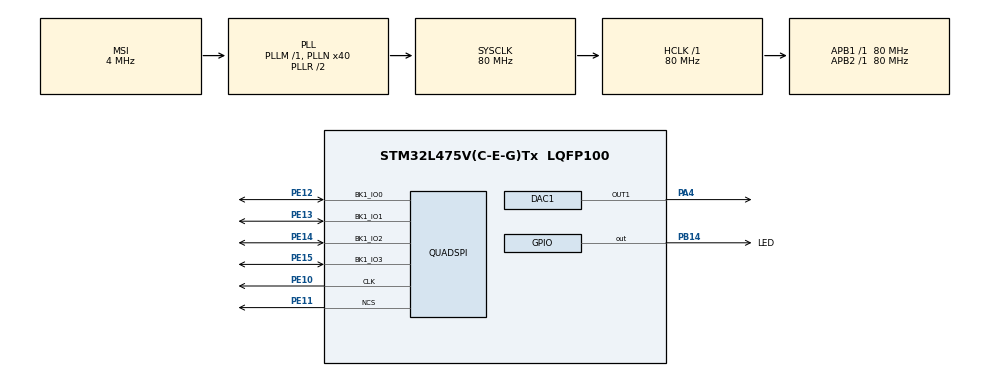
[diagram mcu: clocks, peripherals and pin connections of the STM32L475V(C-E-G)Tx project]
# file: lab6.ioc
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DAC1.DAC_Trigger-DAC_OUT1=DAC_TRIGGER_T2_TRGO
Dma.DAC_CH1.0.Direction=DMA_MEMORY_TO_PERIPH
Dma.DAC_CH1.0.Instance=DMA1_Channel3
Dma.DAC_CH1.0.MemDataAlignment=DMA_MDATAALIGN_BYTE
Dma.DAC_CH1.0.MemInc=DMA_MINC_ENABLE
Dma.DAC_CH1.0.Mode=DMA_NORMAL
Dma.DAC_CH1.0.PeriphDataAlignment=DMA_PDATAALIGN_BYTE
Dma.DAC_CH1.0.PeriphInc=DMA_PINC_DISABLE
Dma.DAC_CH1.0.Priority=DMA_PRIORITY_LOW
Dma.Request0=DAC_CH1
Mcu.Family=STM32L4
Mcu.Name=STM32L475V(C-E-G)Tx
Mcu.Package=LQFP100
NVIC.DMA1_Channel3_IRQn=true\:0\:0\:false\:false\:true\:false\:true
NVIC.PriorityGroup=NVIC_PRIORITYGROUP_4
NVIC.TIM2_IRQn=true\:0\:0\:false\:false\:true\:true\:true
PA4.Signal=COMP_DAC11_group
PB14.GPIO_Label=LED
PB14.Signal=GPIO_Output
PE10.Mode=Single Bank
PE10.Signal=QUADSPI_CLK
PE11.Mode=Single Bank
PE11.Signal=QUADSPI_NCS
PE12.Mode=Single Bank
PE12.Signal=QUADSPI_BK1_IO0
PE13.Mode=Single Bank
PE13.Signal=QUADSPI_BK1_IO1
PE14.Mode=Single Bank
PE14.Signal=QUADSPI_BK1_IO2
PE15.Mode=Single Bank
PE15.Signal=QUADSPI_BK1_IO3
ProjectManager.HeapSize=0x200
ProjectManager.StackSize=0x400
ProjectManager.TargetToolchain=STM32CubeIDE
RCC.ADCFreq_Value=48000000
RCC.AHBFreq_Value=80000000
RCC.APB1Freq_Value=80000000
RCC.APB1TimFreq_Value=80000000
RCC.APB2Freq_Value=80000000
RCC.APB2TimFreq_Value=80000000
RCC.CortexFreq_Value=80000000
RCC.HCLKFreq_Value=80000000
RCC.HSE_VALUE=8000000
RCC.HSI_VALUE=16000000
RCC.LSE_VALUE=32768
RCC.MSI_VALUE=4000000
RCC.PLLN=40
RCC.PLLSAI1N=24
RCC.SYSCLKFreq_VALUE=80000000
RCC.SYSCLKSource=RCC_SYSCLKSOURCE_PLLCLK
RCC.USBFreq_Value=48000000
RCC.VCOOutputFreq_Value=160000000
SH.COMP_DAC11_group.0=DAC1_OUT1,DAC_OUT1
TIM2.Period=1814
TIM2.TIM_MasterOutputTrigger=TIM_TRGO_UPDATE
VP_TIM2_VS_ClockSourceINT.Mode=Internal
board=B-L475E-IOT01A1

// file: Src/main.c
/* USER CODE BEGIN Header */
/**
  ******************************************************************************
  * @file           : main.c
  * @brief          : Main program body
  ******************************************************************************
  * @attention
  *
  * <h2><center>&copy; Copyright (c) 2020 STMicroelectronics.
  * All rights reserved.</center></h2>
  *
  * This software component is licensed by ST under BSD 3-Clause license,
  * the "License"; You may not use this file except in compliance with the
  * License. You may obtain a copy of the License at:
  *                        opensource.org/licenses/BSD-3-Clause
  *
  ******************************************************************************
  */
/* USER CODE END Header */
#include "main.h"

/* USER CODE BEGIN Includes */
#define ARM_MATH_CM4
#include "arm_math.h"

#include <math.h>
#include "stm32l475e_iot01_qspi.h"
/* USER CODE END Includes */

/* USER CODE BEGIN PD */
#define QSPI_BUFFER_SIZE	10000
#define WRITE_READ_ADDR		80
/* USER CODE END PD */

DAC_HandleTypeDef hdac1;
DMA_HandleTypeDef hdma_dac_ch1;

QSPI_HandleTypeDef hqspi;

TIM_HandleTypeDef htim2;

/* USER CODE BEGIN PV */
uint8_t audioWrite[QSPI_BUFFER_SIZE];
uint8_t audioRead[QSPI_BUFFER_SIZE];
int audio_number = 1;
/* USER CODE END PV */

void SystemClock_Config(void);
static void MX_GPIO_Init(void);
static void MX_DMA_Init(void);
static void MX_DAC1_Init(void);
static void MX_TIM2_Init(void);
static void MX_QUADSPI_Init(void);
/* USER CODE BEGIN PFP */
void HAL_DAC_ConvCpltCallbackCh1 (DAC_HandleTypeDef * hdac);
/* USER CODE END PFP */

int main(void)
{

  /* MCU Configuration--------------------------------------------------------*/

  /* Reset of all peripherals, Initializes the Flash interface and the Systick. */
  HAL_Init();

  /* Configure the system clock */
  SystemClock_Config();

  /* Initialize all configured peripherals */
  MX_GPIO_Init();
  MX_DMA_Init();
  MX_DAC1_Init();
  MX_TIM2_Init();
  MX_QUADSPI_Init();
  /* USER CODE BEGIN 2 */
  BSP_QSPI_Init();
  // Erase the memory block
  if (BSP_QSPI_Erase_Block(WRITE_READ_ADDR) != QSPI_OK) {
	  Error_Handler();
  }
  // create the sine waves one by one and save them
  for (int i = 0; i < 6; i++) {
	  float radian = 0;
	  for (int j = 0; j < QSPI_BUFFER_SIZE; j++) {
		  audioWrite[j] = (100 * arm_sin_f32(radian)) + 100;
		  radian += M_PI_4 / ((i+1)*2);
	  }
	  if (BSP_QSPI_Write(audioWrite, WRITE_READ_ADDR + (i * QSPI_BUFFER_SIZE), QSPI_BUFFER_SIZE) != QSPI_OK) {
		  Error_Handler();
	  }
  }
  // read the first audio from the memory
  if (BSP_QSPI_Read(audioRead, WRITE_READ_ADDR, QSPI_BUFFER_SIZE) != QSPI_OK) {
	  Error_Handler();
  }
  // load and play the first memory
  HAL_TIM_Base_Start(&htim2);
  HAL_DAC_Start_DMA(&hdac1, DAC_CHANNEL_1,(uint32_t*) audioRead, QSPI_BUFFER_SIZE, DAC_ALIGN_8B_R);
  /* USER CODE END 2 */

  /* Infinite loop */
  while (1)
  {

  }
}

void SystemClock_Config(void)
{
  RCC_OscInitTypeDef RCC_OscInitStruct = {0};
  RCC_ClkInitTypeDef RCC_ClkInitStruct = {0};

  /** Initializes the RCC Oscillators according to the specified parameters
  * in the RCC_OscInitTypeDef structure.
  */
  RCC_OscInitStruct.OscillatorType = RCC_OSCILLATORTYPE_MSI;
  RCC_OscInitStruct.MSIState = RCC_MSI_ON;
  RCC_OscInitStruct.MSICalibrationValue = 0;
  RCC_OscInitStruct.MSIClockRange = RCC_MSIRANGE_6;
  RCC_OscInitStruct.PLL.PLLState = RCC_PLL_ON;
  RCC_OscInitStruct.PLL.PLLSource = RCC_PLLSOURCE_MSI;
  RCC_OscInitStruct.PLL.PLLM = 1;
  RCC_OscInitStruct.PLL.PLLN = 40;
  RCC_OscInitStruct.PLL.PLLP = RCC_PLLP_DIV7;
  RCC_OscInitStruct.PLL.PLLQ = RCC_PLLQ_DIV2;
  RCC_OscInitStruct.PLL.PLLR = RCC_PLLR_DIV2;
  if (HAL_RCC_OscConfig(&RCC_OscInitStruct) != HAL_OK)
  {
    Error_Handler();
  }
  /** Initializes the CPU, AHB and APB buses clocks
  */
  RCC_ClkInitStruct.ClockType = RCC_CLOCKTYPE_HCLK|RCC_CLOCKTYPE_SYSCLK
                              |RCC_CLOCKTYPE_PCLK1|RCC_CLOCKTYPE_PCLK2;
  RCC_ClkInitStruct.SYSCLKSource = RCC_SYSCLKSOURCE_PLLCLK;
  RCC_ClkInitStruct.AHBCLKDivider = RCC_SYSCLK_DIV1;
  RCC_ClkInitStruct.APB1CLKDivider = RCC_HCLK_DIV1;
  RCC_ClkInitStruct.APB2CLKDivider = RCC_HCLK_DIV1;

  if (HAL_RCC_ClockConfig(&RCC_ClkInitStruct, FLASH_LATENCY_4) != HAL_OK)
  {
    Error_Handler();
  }
  /** Configure the main internal regulator output voltage
  */
  if (HAL_PWREx_ControlVoltageScaling(PWR_REGULATOR_VOLTAGE_SCALE1) != HAL_OK)
  {
    Error_Handler();
  }
}

static void MX_DAC1_Init(void)
{

  DAC_ChannelConfTypeDef sConfig = {0};

  /** DAC Initialization
  */
  hdac1.Instance = DAC1;
  if (HAL_DAC_Init(&hdac1) != HAL_OK)
  {
    Error_Handler();
  }
  /** DAC channel OUT1 config
  */
  sConfig.DAC_SampleAndHold = DAC_SAMPLEANDHOLD_DISABLE;
  sConfig.DAC_Trigger = DAC_TRIGGER_T2_TRGO;
  sConfig.DAC_OutputBuffer = DAC_OUTPUTBUFFER_ENABLE;
  sConfig.DAC_ConnectOnChipPeripheral = DAC_CHIPCONNECT_DISABLE;
  sConfig.DAC_UserTrimming = DAC_TRIMMING_FACTORY;
  if (HAL_DAC_ConfigChannel(&hdac1, &sConfig, DAC_CHANNEL_1) != HAL_OK)
  {
    Error_Handler();
  }

}

static void MX_QUADSPI_Init(void)
{

  /* QUADSPI parameter configuration*/
  hqspi.Instance = QUADSPI;
  hqspi.Init.ClockPrescaler = 255;
  hqspi.Init.FifoThreshold = 1;
  hqspi.Init.SampleShifting = QSPI_SAMPLE_SHIFTING_NONE;
  hqspi.Init.FlashSize = 1;
  hqspi.Init.ChipSelectHighTime = QSPI_CS_HIGH_TIME_1_CYCLE;
  hqspi.Init.ClockMode = QSPI_CLOCK_MODE_0;
  if (HAL_QSPI_Init(&hqspi) != HAL_OK)
  {
    Error_Handler();
  }

}

static void MX_TIM2_Init(void)
{

  TIM_ClockConfigTypeDef sClockSourceConfig = {0};
  TIM_MasterConfigTypeDef sMasterConfig = {0};

  htim2.Instance = TIM2;
  htim2.Init.Prescaler = 0;
  htim2.Init.CounterMode = TIM_COUNTERMODE_UP;
  htim2.Init.Period = 1814;
  htim2.Init.ClockDivision = TIM_CLOCKDIVISION_DIV1;
  htim2.Init.AutoReloadPreload = TIM_AUTORELOAD_PRELOAD_DISABLE;
  if (HAL_TIM_Base_Init(&htim2) != HAL_OK)
  {
    Error_Handler();
  }
  sClockSourceConfig.ClockSource = TIM_CLOCKSOURCE_INTERNAL;
  if (HAL_TIM_ConfigClockSource(&htim2, &sClockSourceConfig) != HAL_OK)
  {
    Error_Handler();
  }
  sMasterConfig.MasterOutputTrigger = TIM_TRGO_UPDATE;
  sMasterConfig.MasterSlaveMode = TIM_MASTERSLAVEMODE_DISABLE;
  if (HAL_TIMEx_MasterConfigSynchronization(&htim2, &sMasterConfig) != HAL_OK)
  {
    Error_Handler();
  }

}

static void MX_DMA_Init(void)
{

  /* DMA controller clock enable */
  __HAL_RCC_DMA1_CLK_ENABLE();

  /* DMA interrupt init */
  /* DMA1_Channel3_IRQn interrupt configuration */
  HAL_NVIC_SetPriority(DMA1_Channel3_IRQn, 0, 0);
  HAL_NVIC_EnableIRQ(DMA1_Channel3_IRQn);

}

static void MX_GPIO_Init(void)
{
  GPIO_InitTypeDef GPIO_InitStruct = {0};

  /* GPIO Ports Clock Enable */
  __HAL_RCC_GPIOA_CLK_ENABLE();
  __HAL_RCC_GPIOE_CLK_ENABLE();
  __HAL_RCC_GPIOB_CLK_ENABLE();

  /*Configure GPIO pin Output Level */
  HAL_GPIO_WritePin(LED_GPIO_Port, LED_Pin, GPIO_PIN_RESET);

  /*Configure GPIO pin : LED_Pin */
  GPIO_InitStruct.Pin = LED_Pin;
  GPIO_InitStruct.Mode = GPIO_MODE_OUTPUT_PP;
  GPIO_InitStruct.Pull = GPIO_NOPULL;
  GPIO_InitStruct.Speed = GPIO_SPEED_FREQ_LOW;
  HAL_GPIO_Init(LED_GPIO_Port, &GPIO_InitStruct);

}

/* USER CODE BEGIN 4 */
void HAL_DAC_ConvCpltCallbackCh1(DAC_HandleTypeDef * hdac) {
  HAL_DAC_Stop_DMA(&hdac1, DAC_CHANNEL_1);
  audio_number += 1;
  if (audio_number > 6) {
	  audio_number = 1;
  }
  if(BSP_QSPI_Read(audioRead, WRITE_READ_ADDR + ((audio_number - 1)*QSPI_BUFFER_SIZE), QSPI_BUFFER_SIZE) != QSPI_OK) {
	Error_Handler();
  }
  HAL_DAC_Start_DMA(&hdac1, DAC_CHANNEL_1, (uint32_t*) audioRead, QSPI_BUFFER_SIZE, DAC_ALIGN_8B_R);
}
/* USER CODE END 4 */

void Error_Handler(void)
{
  /* USER CODE BEGIN Error_Handler_Debug */
  /* User can add his own implementation to report the HAL error return state */
  HAL_GPIO_WritePin(LED_GPIO_Port, LED_Pin, GPIO_PIN_SET);
  __BKPT();
  /* USER CODE END Error_Handler_Debug */
}

/************************ (C) COPYRIGHT STMicroelectronics *****END OF FILE****/
